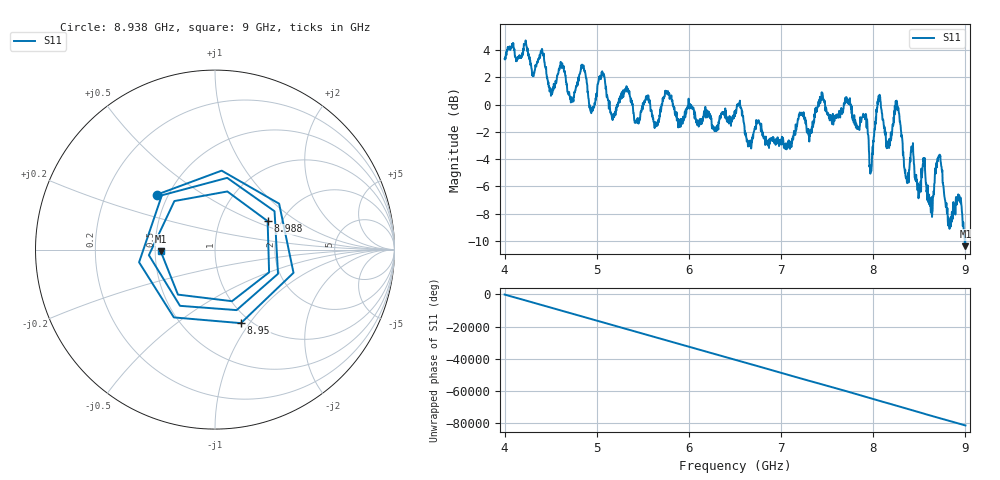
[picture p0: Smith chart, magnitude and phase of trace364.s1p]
! Created with skrf 1.8.0 (http://scikit-rf.org).
# Hz S RI R 50.0
!freq ReS11 ImS11
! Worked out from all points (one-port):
!   1601 points, 4 GHz to 9 GHz, reference 50 ohm
!   lowest |S11| = -10.4 dB at 9 GHz (marker M1), VSWR 1.87, Z = 26.8 - j0.596 ohm
!   |S11| at or under -10 dB: 8.992301 GHz to 8.99586 GHz (3.559 MHz wide, 0.0396 % of centre); 8.998122 GHz to end of sweep
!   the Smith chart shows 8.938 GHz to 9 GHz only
!   S11 on the Smith chart (normalised r, x): 8.938 GHz: 0.43, +0.33; 8.95 GHz: 0.90, -0.91; 8.988 GHz: 1.69, +0.60; 9 GHz: 0.54, -0.01
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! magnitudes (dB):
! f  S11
! 4 GHz  3.4
! 4.403 GHz  4.1
! 4.506 GHz  0.8
! 4.625 GHz  3.0
! 4.728 GHz  0.4
! 4.847 GHz  2.7
! 4.941 GHz  -0.6
! 5.056 GHz  2.3
! 5.169 GHz  -0.9
! 5.25 GHz  0.2
! 5.875 GHz  -1.0
! 6.5 GHz  -0.8
! 7.125 GHz  -2.6
! 7.75 GHz  0.0
! 7.912 GHz  -1.1
! 7.978 GHz  -4.9
! 8.059 GHz  0.6
! 8.162 GHz  -3.1
! 8.259 GHz  0.1
! 8.375 GHz  -5.7
! 8.547 GHz  -4.2
! 8.625 GHz  -7.9
! 8.709 GHz  -3.8
! 8.825 GHz  -8.7
! 8.938 GHz  -7.0
! 8.95 GHz  -7.2
! 8.988 GHz  -9.5
! 9 GHz  -10.4
